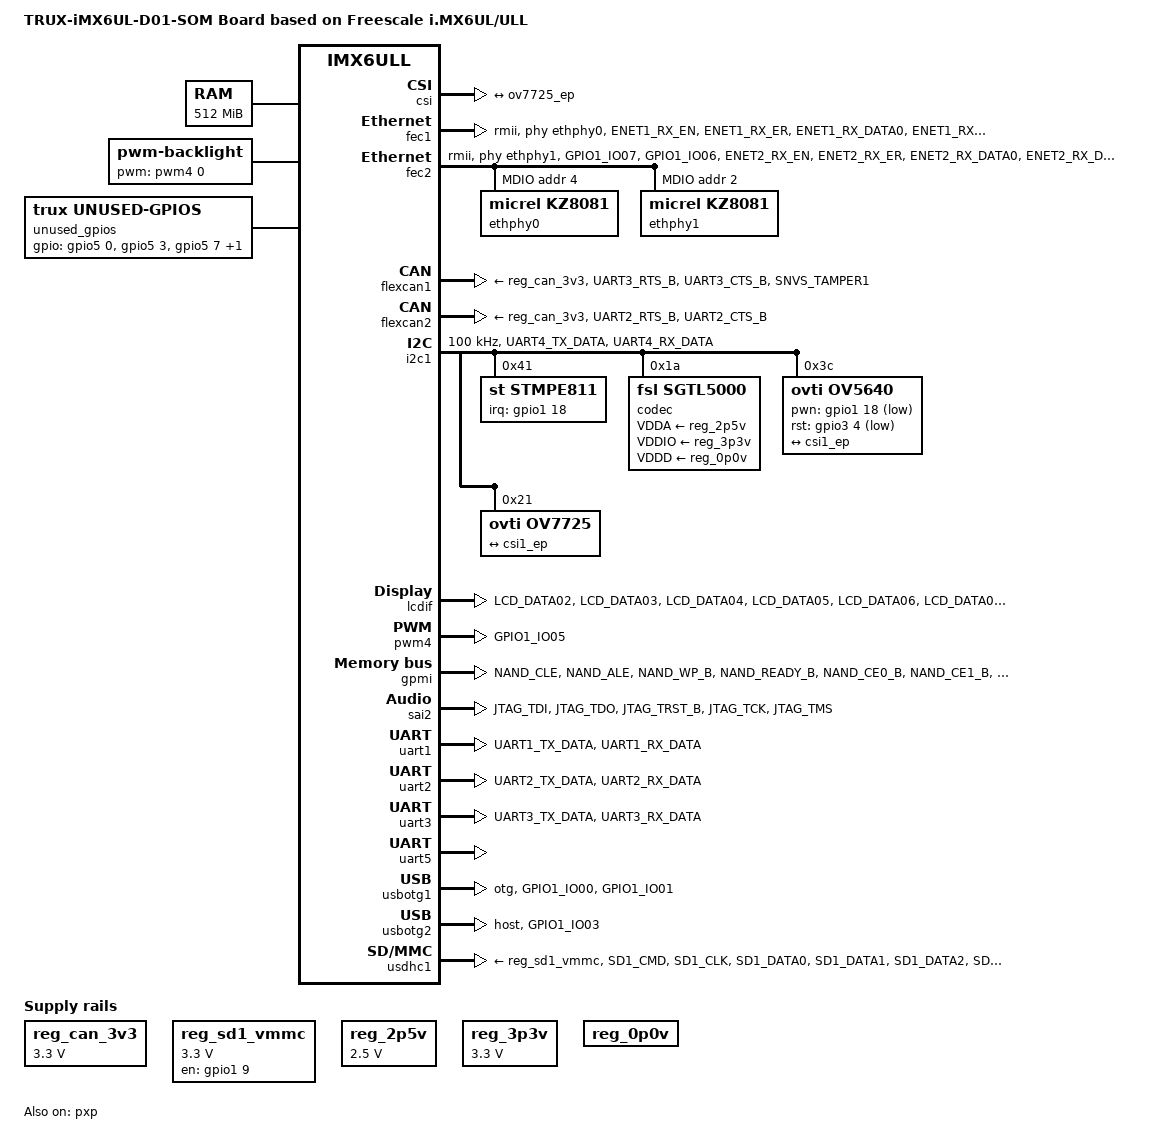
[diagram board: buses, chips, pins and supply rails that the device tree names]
/*
 * Copyright (c) 2020 Trunexa Inc.
 *
 * This program is free software; you can redistribute it and/or modify
 * it under the terms of the GNU General Public License version 3
 * as published by the Free Software Foundation.
 *
 * This program is distributed in the hope that it will be useful,
 * but WITHOUT ANY WARRANTY; without even the implied warranty of
 * MERCHANTABILITY or FITNESS FOR A PARTICULAR PURPOSE.  See the
 * GNU General Public License for more details.
 *
 * You should have received a copy of the GNU General Public License
 * along with this program; If not, see <http://www.gnu.org/licenses/>.
 */

#include <dt-bindings/input/input.h>
#include <dt-bindings/gpio/gpio.h>
#include <dt-bindings/interrupt-controller/arm-gic.h>
#include "imx6ul-pinfunc.h"

/ {
	model = "TRUX-iMX6UL-D01-SOM Board based on Freescale i.MX6UL/ULL";
	compatible = "trux,ul_truxd01_som", "trux,ull_truxd01_som", "fsl,imx6ul", "fsl,imx6ull";
      
	aliases {
                ethernet0 = &fec2;
                ethernet1 = &fec1;
	};

	chosen {
		stdout-path = &uart1;
	};

	memory {
		reg = <0x80000000 0x20000000>;
	};

	reserved-memory {
		#address-cells = <1>;
		#size-cells = <1>;
		ranges;

		linux,cma {
			compatible = "shared-dma-pool";
			reusable;
			size = <0x14000000>;
			linux,cma-default;
		};
	};

	backlight {
		compatible = "pwm-backlight";
		pwms = <&pwm4 0 5000000>;
		brightness-levels = <0 4 8 16 32 64 128 255>;
		default-brightness-level = <6>;
		status = "okay";
	};

	pxp_v4l2 {
		compatible = "fsl,imx6ul-pxp-v4l2", "fsl,imx6sx-pxp-v4l2", "fsl,imx6sl-pxp-v4l2";
		status = "okay";
	};

        unused_gpios: unused_gpios {
                compatible = "trux,unused-gpios";
                status = "okay";
        };

	regulators {
		compatible = "simple-bus";
		#address-cells = <1>;
		#size-cells = <0>;

		reg_can_3v3: regulator@0 {
			compatible = "regulator-fixed";
			reg = <0>;
			regulator-name = "can-3v3";
			regulator-min-microvolt = <3300000>;
			regulator-max-microvolt = <3300000>;
		};

		reg_sd1_vmmc: regulator@1 {
			compatible = "regulator-fixed";
			regulator-name = "VSD_3V3";
			regulator-min-microvolt = <3300000>;
			regulator-max-microvolt = <3300000>;
			gpio = <&gpio1 9 GPIO_ACTIVE_HIGH>;
			enable-active-high;
		};
		reg_2p5v: 2p5v {
			compatible = "regulator-fixed";
			regulator-name = "2P5V";
			regulator-min-microvolt = <2500000>;
			regulator-max-microvolt = <2500000>;
			regulator-always-on;
		};

		reg_3p3v: 3p3v {
			compatible = "regulator-fixed";
			regulator-name = "3P3V";
			regulator-min-microvolt = <3300000>;
			regulator-max-microvolt = <3300000>;
			regulator-always-on;
		};

		reg_0p0v: 0p0v {
			compatible = "regulator-fixed";
			regulator-name = "0P0V";
			regulator-min-microvolt = <0000000>;
			regulator-max-microvolt = <0000000>;
			regulator-always-on;
		};
	};

	/*sound {
		compatible = "fsl,imx-audio-sgtl5000";
		model = "sgtl5000-audio";
		ssi-controller = <&sai2>;
		audio-codec = <&codec>;
		gpr = <&gpr>;
		audio-routing =
			"MIC_IN", "Mic Jack",
			"Mic Jack", "Mic Bias",
			"Headphone Jack", "HP_OUT",
			"LINE_IN", "Line In Jack";
	};*/
	
	sound {
                compatible = "fsl,imx-audio-wm8960";
                model = "wm8960-audio";
                ssi-controller = <&sai2>;
                audio-codec = <&codec>;
                gpr = <&gpr>;
                audio-routing =
                        "MIC_IN", "Mic Jack",
                        "Mic Jack", "Mic Bias",
                        "Headphone Jack", "HP_OUT",
                        "LINE_IN", "Line In Jack";
        };

};

&cpu0 {
	arm-supply = <&reg_arm>;
	soc-supply = <&reg_soc>;
};

&clks {
	assigned-clocks = <&clks IMX6UL_CLK_PLL4_AUDIO_DIV>;
	assigned-clock-rates = <786432000>;
};

&csi {
	status = "okay";

	port {
		csi1_ep: endpoint {
			remote-endpoint = <&ov7725_ep>;
		};
	};
};

&fec1 {
	pinctrl-names = "default";
	pinctrl-0 = <&pinctrl_enet1>;
	phy-mode = "rmii";
	phy-handle = <&ethphy0>;
	status = "okay";
};

&fec2 {
	pinctrl-names = "default";
	pinctrl-0 = <&pinctrl_enet2>;
	phy-mode = "rmii";
	phy-handle = <&ethphy1>;
	status = "okay";

	mdio {
		#address-cells = <1>;
		#size-cells = <0>;

		ethphy0: ethernet-phy@4 {
			compatible = "micrel,kz8081";
			reg = <4>;
		};

		ethphy1: ethernet-phy@2 {
			compatible = "micrel,kz8081";
			reg = <2>;
		};
	};
};

&flexcan1 {
	pinctrl-names = "default";
	pinctrl-0 = <&pinctrl_flexcan1>;
        trx-en-gpio = <&gpio5 1 GPIO_ACTIVE_LOW>;
	xceiver-supply = <&reg_can_3v3>;
	status = "okay";
};

&flexcan2 {
	pinctrl-names = "default";
	pinctrl-0 = <&pinctrl_flexcan2>;
	xceiver-supply = <&reg_can_3v3>;
	status = "okay";
};

&unused_gpios {
        gpios = <&gpio5 0 0  &gpio5 3 0 &gpio5 7 0   &gpio5 8 0 >;
};

&gpc {
	fsl,cpu_pupscr_sw2iso = <0x1>;
	fsl,cpu_pupscr_sw = <0x0>;
	fsl,cpu_pdnscr_iso2sw = <0x1>;
	fsl,cpu_pdnscr_iso = <0x1>;
	fsl,wdog-reset = <1>; /* watchdog select of reset source */
	fsl,ldo-bypass = <0>; /* DCDC, ldo-enable */
};

&i2c1 {
	clock-frequency = <100000>;
	pinctrl-names = "default";
	pinctrl-0 = <&pinctrl_i2c1>;
	status = "okay";

/* STMPE811 touch screen controller */
       stmpe811@41 {
               compatible = "st,stmpe811";
               #address-cells = <1>;
               #size-cells = <0>;
               reg = <0x41>;
               /*interrupts = <2 2>;
               interrupt-parent = <&gpio5>;*/
	       interrupts = <18 2>;
               interrupt-parent = <&gpio1>;
               interrupt-controller;
               id = <0>;
               blocks = <0x5>;
               irq-trigger = <0x1>;
               stmpe_touchscreen {
                       compatible = "st,stmpe-ts";
                       reg = <0>;
                       /* 3.25 MHz ADC clock speed */
                       st,adc-freq = <3>;
                       /* 8 sample average control */
                       st,ave-ctrl = <2>;
                       /* 7 length fractional part in z */
                       st,fraction-z = <7>;
                       /*
                        * 50 mA typical 80 mA max touchscreen drivers
                        * current limit value
                        */
                       st,i-drive = <0>;
                       /* 12-bit ADC */
                       st,mod-12b = <1>;
                       /* internal ADC reference */
                       st,ref-sel = <0>;
                       /* ADC converstion time: 80 clocks */
                       st,sample-time = <4>;
                       /* 1 ms panel driver settling time */
                       st,settling = <3>;
                       /* 5 ms touch detect interrupt delay */
                       st,touch-det-delay = <4>;
               };
       };

		/*codec: sgtl5000@0a {
			compatible = "fsl,sgtl5000";
			reg = <0x0a>;
			clocks = <&clks IMX6UL_CLK_OSC>; 
			VDDA-supply = <&reg_2p5v>;
			VDDIO-supply = <&reg_3p3v>;
			VDDD-supply = <&reg_0p0v>;
		};*/
		codec: wm8960@1a {
                        compatible = "fsl,sgtl5000";
                        reg = <0x1a>;
                        clocks = <&clks IMX6UL_CLK_OSC>; 
                        VDDA-supply = <&reg_2p5v>;
                        VDDIO-supply = <&reg_3p3v>;
                        VDDD-supply = <&reg_0p0v>;
                };
	
	ov5640: ov5640@3c {
		compatible = "ovti,ov5640";
		reg = <0x3c>;
		pinctrl-names = "default";
		pinctrl-0 = <&pinctrl_csi1>;
		clocks = <&clks IMX6UL_CLK_CSI>;
		clock-names = "csi_mclk";
		pwn-gpios = <&gpio1 18 GPIO_ACTIVE_LOW>;
		rst-gpios = <&gpio3 4 GPIO_ACTIVE_LOW>;
		csi_id = <0>;
		mclk = <24000000>;
		mclk_source = <0>;
		status = "okay";
		port {
			ov5640_ep: endpoint {
				remote-endpoint = <&csi1_ep>;
			};
		};
	};
	ov7725: ov7725@21 {
                compatible = "ovti,ov7725";
                reg = <0x21>;
        	pinctrl-names = "default";
        	pinctrl-0 = <&pinctrl_csi1>;
	        clocks = <&clks IMX6UL_CLK_CSI>;
	        clock-names = "csi_mclk";
	        csi_id = <0>;
	        mclk = <24000000>;
	        mclk_source = <0>;
                status = "okay";
                port {
                        ov7725_ep: endpoint {
                                remote-endpoint = <&csi1_ep>;
                        };
                };
        };
};

&iomuxc {
	pinctrl-names = "default";
	pinctrl-0 = <&pinctrl_hog_1>;
	imx6ul-evk {
		pinctrl_hog_1: hoggrp-1 {
			fsl,pins = <
				MX6UL_PAD_SNVS_TAMPER0__GPIO5_IO00      0x80000000
                                MX6UL_PAD_SNVS_TAMPER3__GPIO5_IO03      0x80000000
                                MX6UL_PAD_SNVS_TAMPER7__GPIO5_IO07      0x80000000
                                MX6UL_PAD_SNVS_TAMPER8__GPIO5_IO08      0x80000000
				MX6UL_PAD_LCD_DATA00__GPIO3_IO05        0x80000000
                                MX6UL_PAD_LCD_DATA01__GPIO3_IO06        0x80000000
                                MX6UL_PAD_LCD_DATA08__GPIO3_IO13        0x80000000
                                MX6UL_PAD_LCD_DATA09__GPIO3_IO14        0x80000000
                                MX6UL_PAD_LCD_DATA16__GPIO3_IO21        0x80000000
                                MX6UL_PAD_LCD_DATA17__GPIO3_IO22        0x80000000
				MX6UL_PAD_UART1_CTS_B__GPIO1_IO18   	0x80000000 /*Touch Interrupt*/
			/*	MX6UL_PAD_SNVS_TAMPER2__GPIO5_IO02      0x80000000*/ /*Touch Interrupt*/
			>;
		};

		pinctrl_csi1: csi1grp {
			fsl,pins = <
				MX6UL_PAD_CSI_MCLK__CSI_MCLK		0x1b088
				MX6UL_PAD_CSI_PIXCLK__CSI_PIXCLK	0x1b088
				MX6UL_PAD_CSI_VSYNC__CSI_VSYNC		0x1b088
				MX6UL_PAD_CSI_HSYNC__CSI_HSYNC		0x1b088
				MX6UL_PAD_CSI_DATA00__CSI_DATA02	0x1b088
				MX6UL_PAD_CSI_DATA01__CSI_DATA03	0x1b088
				MX6UL_PAD_CSI_DATA02__CSI_DATA04	0x1b088
				MX6UL_PAD_CSI_DATA03__CSI_DATA05	0x1b088
				MX6UL_PAD_CSI_DATA04__CSI_DATA06	0x1b088
				MX6UL_PAD_CSI_DATA05__CSI_DATA07	0x1b088
				MX6UL_PAD_CSI_DATA06__CSI_DATA08	0x1b088
				MX6UL_PAD_CSI_DATA07__CSI_DATA09	0x1b088
			/*	MX6UL_PAD_UART1_CTS_B__GPIO1_IO18   0x80000000*/
			>;
		};

		pinctrl_enet1: enet1grp {
			fsl,pins = <
				MX6UL_PAD_ENET1_RX_EN__ENET1_RX_EN	0x1b0b0
				MX6UL_PAD_ENET1_RX_ER__ENET1_RX_ER	0x1b0b0
				MX6UL_PAD_ENET1_RX_DATA0__ENET1_RDATA00	0x1b0b0
				MX6UL_PAD_ENET1_RX_DATA1__ENET1_RDATA01	0x1b0b0
				MX6UL_PAD_ENET1_TX_EN__ENET1_TX_EN	0x1b0b0
				MX6UL_PAD_ENET1_TX_DATA0__ENET1_TDATA00	0x1b0b0
				MX6UL_PAD_ENET1_TX_DATA1__ENET1_TDATA01	0x1b0b0
				MX6UL_PAD_ENET1_TX_CLK__ENET1_REF_CLK1	0x4001b031
                               MX6UL_PAD_SNVS_TAMPER5__GPIO5_IO05      0x80000000
			>;
		};

		pinctrl_enet2: enet2grp {
			fsl,pins = <
				MX6UL_PAD_GPIO1_IO07__ENET2_MDC		0x1b0b0
				MX6UL_PAD_GPIO1_IO06__ENET2_MDIO	0x1b0b0
				MX6UL_PAD_ENET2_RX_EN__ENET2_RX_EN	0x1b0b0
				MX6UL_PAD_ENET2_RX_ER__ENET2_RX_ER	0x1b0b0
				MX6UL_PAD_ENET2_RX_DATA0__ENET2_RDATA00	0x1b0b0
				MX6UL_PAD_ENET2_RX_DATA1__ENET2_RDATA01	0x1b0b0
				MX6UL_PAD_ENET2_TX_EN__ENET2_TX_EN	0x1b0b0
				MX6UL_PAD_ENET2_TX_DATA0__ENET2_TDATA00	0x1b0b0
				MX6UL_PAD_ENET2_TX_DATA1__ENET2_TDATA01	0x1b0b0
				MX6UL_PAD_ENET2_TX_CLK__ENET2_REF_CLK2	0x4001b031
				MX6UL_PAD_SNVS_TAMPER6__GPIO5_IO06	0x80000000
			>;
		};

		pinctrl_flexcan1: flexcan1grp{
			fsl,pins = <
				MX6UL_PAD_UART3_RTS_B__FLEXCAN1_RX	0x1b020
				MX6UL_PAD_UART3_CTS_B__FLEXCAN1_TX	0x1b020
                                MX6UL_PAD_SNVS_TAMPER1__GPIO5_IO01      0x80000000
			>;
		};

		pinctrl_flexcan2: flexcan2grp{
			fsl,pins = <
				MX6UL_PAD_UART2_RTS_B__FLEXCAN2_RX	0x1b020
				MX6UL_PAD_UART2_CTS_B__FLEXCAN2_TX	0x1b020
			>;
		};

		pinctrl_i2c1: i2c1grp {
			fsl,pins = <
				MX6UL_PAD_UART4_TX_DATA__I2C1_SCL 0x4001b8b0
				MX6UL_PAD_UART4_RX_DATA__I2C1_SDA 0x4001b8b0
			>;
		};

		pinctrl_lcdif_dat: lcdifdatgrp {
			fsl,pins = <
				MX6UL_PAD_LCD_DATA02__LCDIF_DATA02  0x79
				MX6UL_PAD_LCD_DATA03__LCDIF_DATA03  0x79
				MX6UL_PAD_LCD_DATA04__LCDIF_DATA04  0x79
				MX6UL_PAD_LCD_DATA05__LCDIF_DATA05  0x79
				MX6UL_PAD_LCD_DATA06__LCDIF_DATA06  0x79
				MX6UL_PAD_LCD_DATA07__LCDIF_DATA07  0x79
				MX6UL_PAD_LCD_DATA10__LCDIF_DATA10  0x79
				MX6UL_PAD_LCD_DATA11__LCDIF_DATA11  0x79
				MX6UL_PAD_LCD_DATA12__LCDIF_DATA12  0x79
				MX6UL_PAD_LCD_DATA13__LCDIF_DATA13  0x79
				MX6UL_PAD_LCD_DATA14__LCDIF_DATA14  0x79
				MX6UL_PAD_LCD_DATA15__LCDIF_DATA15  0x79
				MX6UL_PAD_LCD_DATA18__LCDIF_DATA18  0x79
				MX6UL_PAD_LCD_DATA19__LCDIF_DATA19  0x79
				MX6UL_PAD_LCD_DATA20__LCDIF_DATA20  0x79
				MX6UL_PAD_LCD_DATA21__LCDIF_DATA21  0x79
				MX6UL_PAD_LCD_DATA22__LCDIF_DATA22  0x79
				MX6UL_PAD_LCD_DATA23__LCDIF_DATA23  0x79
			>;
		};

		pinctrl_lcdif_ctrl: lcdifctrlgrp {
			fsl,pins = <
				MX6UL_PAD_LCD_CLK__LCDIF_CLK	    0x79
				MX6UL_PAD_LCD_ENABLE__LCDIF_ENABLE  0x79
				MX6UL_PAD_LCD_HSYNC__LCDIF_HSYNC    0x79
				MX6UL_PAD_LCD_VSYNC__LCDIF_VSYNC    0x79
                		MX6UL_PAD_SNVS_TAMPER9__GPIO5_IO09  0x80000000
				/* used for lcd reset */
				MX6UL_PAD_LCD_RESET__GPIO3_IO04     0x80000000 	
			>;
		};

                pinctrl_gpmi_nand_1: gpmi-nand-1 {
                        fsl,pins = <
                                MX6UL_PAD_NAND_CLE__RAWNAND_CLE         0xb0b1
                                MX6UL_PAD_NAND_ALE__RAWNAND_ALE         0xb0b1
                                MX6UL_PAD_NAND_WP_B__RAWNAND_WP_B       0xb0b1
                                MX6UL_PAD_NAND_READY_B__RAWNAND_READY_B 0xb000
                                MX6UL_PAD_NAND_CE0_B__RAWNAND_CE0_B     0xb0b1
                                MX6UL_PAD_NAND_CE1_B__RAWNAND_CE1_B     0xb0b1
                                MX6UL_PAD_NAND_RE_B__RAWNAND_RE_B       0xb0b1
                                MX6UL_PAD_NAND_WE_B__RAWNAND_WE_B       0xb0b1
                                MX6UL_PAD_NAND_DATA00__RAWNAND_DATA00   0xb0b1
                                MX6UL_PAD_NAND_DATA01__RAWNAND_DATA01   0xb0b1
                                MX6UL_PAD_NAND_DATA02__RAWNAND_DATA02   0xb0b1
                                MX6UL_PAD_NAND_DATA03__RAWNAND_DATA03   0xb0b1
                                MX6UL_PAD_NAND_DATA04__RAWNAND_DATA04   0xb0b1
                                MX6UL_PAD_NAND_DATA05__RAWNAND_DATA05   0xb0b1
                                MX6UL_PAD_NAND_DATA06__RAWNAND_DATA06   0xb0b1
                                MX6UL_PAD_NAND_DATA07__RAWNAND_DATA07   0xb0b1
                                MX6UL_PAD_NAND_DQS__RAWNAND_DQS         0xb0b1
                        >;
                };

		pinctrl_pwm4: pwm4grp {
			fsl,pins = <
				MX6UL_PAD_GPIO1_IO05__PWM4_OUT   0x110b0
			>;
		};

		pinctrl_qspi: qspigrp {
			fsl,pins = <
				MX6UL_PAD_NAND_WP_B__QSPI_A_SCLK      0x70a1
				MX6UL_PAD_NAND_READY_B__QSPI_A_DATA00 0x70a1
				MX6UL_PAD_NAND_CE0_B__QSPI_A_DATA01   0x70a1
				MX6UL_PAD_NAND_CE1_B__QSPI_A_DATA02   0x70a1
				MX6UL_PAD_NAND_CLE__QSPI_A_DATA03     0x70a1
				MX6UL_PAD_NAND_DQS__QSPI_A_SS0_B      0x70a1
			>;
		};

		pinctrl_sai2: sai2grp {
			fsl,pins = <
				MX6UL_PAD_JTAG_TDI__SAI2_TX_BCLK	0x17088
				MX6UL_PAD_JTAG_TDO__SAI2_TX_SYNC	0x17088
				MX6UL_PAD_JTAG_TRST_B__SAI2_TX_DATA	0x11088
				MX6UL_PAD_JTAG_TCK__SAI2_RX_DATA	0x11088
				MX6UL_PAD_JTAG_TMS__CCM_CLKO1		0x17088 
			>;
		};

		pinctrl_uart1: uart1grp {
			fsl,pins = <
				MX6UL_PAD_UART1_TX_DATA__UART1_DCE_TX 0x1b0b1
				MX6UL_PAD_UART1_RX_DATA__UART1_DCE_RX 0x1b0b1
			>;
		};

		pinctrl_uart2: uart2grp {
			fsl,pins = <
				MX6UL_PAD_UART2_TX_DATA__UART2_DCE_TX	0x1b0b1
				MX6UL_PAD_UART2_RX_DATA__UART2_DCE_RX	0x1b0b1
			>;
		};

                pinctrl_uart3: uart3grp {
                        fsl,pins = <
                                MX6UL_PAD_UART3_TX_DATA__UART3_DCE_TX   0x1b0b1
                                MX6UL_PAD_UART3_RX_DATA__UART3_DCE_RX   0x1b0b1
                        >;
                };

		pinctrl_usbotg_1: usbot-sm {
                        fsl,pins = <
                                MX6UL_PAD_GPIO1_IO00__ANATOP_OTG1_ID 0x17059
				MX6UL_PAD_GPIO1_IO01__USB_OTG1_OC    0x17059	
                        >;
                };

                pinctrl_usbhost: usbho-sm {
                        fsl,pins = <
                                MX6UL_PAD_GPIO1_IO03__USB_OTG2_OC 0x17059
                        >;
                };

		pinctrl_usdhc1: usdhc1grp {
			fsl,pins = <
				MX6UL_PAD_SD1_CMD__USDHC1_CMD     0x17059
				MX6UL_PAD_SD1_CLK__USDHC1_CLK     0x10071
				MX6UL_PAD_SD1_DATA0__USDHC1_DATA0 0x17059
				MX6UL_PAD_SD1_DATA1__USDHC1_DATA1 0x17059
				MX6UL_PAD_SD1_DATA2__USDHC1_DATA2 0x17059
				MX6UL_PAD_SD1_DATA3__USDHC1_DATA3 0x17059
				MX6UL_PAD_UART1_RTS_B__GPIO1_IO19   0x80000000 /* CD */
			>;
		};

		pinctrl_usdhc1_100mhz: usdhc1grp100mhz {
			fsl,pins = <
				MX6UL_PAD_SD1_CMD__USDHC1_CMD     0x170b9
				MX6UL_PAD_SD1_CLK__USDHC1_CLK     0x100b9
				MX6UL_PAD_SD1_DATA0__USDHC1_DATA0 0x170b9
				MX6UL_PAD_SD1_DATA1__USDHC1_DATA1 0x170b9
				MX6UL_PAD_SD1_DATA2__USDHC1_DATA2 0x170b9
				MX6UL_PAD_SD1_DATA3__USDHC1_DATA3 0x170b9
				MX6UL_PAD_UART1_RTS_B__GPIO1_IO19   0x80000000 /* CD */
			>;
		};

		pinctrl_usdhc1_200mhz: usdhc1grp200mhz {
			fsl,pins = <
				MX6UL_PAD_SD1_CMD__USDHC1_CMD     0x170f9
				MX6UL_PAD_SD1_CLK__USDHC1_CLK     0x100f9
				MX6UL_PAD_SD1_DATA0__USDHC1_DATA0 0x170f9
				MX6UL_PAD_SD1_DATA1__USDHC1_DATA1 0x170f9
				MX6UL_PAD_SD1_DATA2__USDHC1_DATA2 0x170f9
				MX6UL_PAD_SD1_DATA3__USDHC1_DATA3 0x170f9
				MX6UL_PAD_UART1_RTS_B__GPIO1_IO19   0x80000000 /* CD */
			>;
		};

		pinctrl_usdhc2: usdhc2grp {
			fsl,pins = <
				MX6UL_PAD_NAND_RE_B__USDHC2_CLK     0x10069
				MX6UL_PAD_NAND_WE_B__USDHC2_CMD     0x17059
				MX6UL_PAD_NAND_DATA00__USDHC2_DATA0 0x17059
				MX6UL_PAD_NAND_DATA01__USDHC2_DATA1 0x17059
				MX6UL_PAD_NAND_DATA02__USDHC2_DATA2 0x17059
				MX6UL_PAD_NAND_DATA03__USDHC2_DATA3 0x17059
                                MX6UL_PAD_NAND_DATA07__GPIO4_IO09   0x80000000 /* CD */
			>;
		};

		};
};

&lcdif {
	pinctrl-names = "default";
	pinctrl-0 = <&pinctrl_lcdif_dat
		     &pinctrl_lcdif_ctrl>;
	display = <&display0>;
	status = "okay";

	display0: display {
		bits-per-pixel = <16>;
		bus-width = <24>;

		display-timings {
			native-mode = <&timing0>;
			timing0: timing0 {
			clock-frequency = <9200000>;
			hactive = <480>;
			vactive = <272>;
			hfront-porch = <8>;
			hback-porch = <4>;
			hsync-len = <41>;
			vback-porch = <2>;
			vfront-porch = <4>;
			vsync-len = <10>;

			hsync-active = <0>;
			vsync-active = <0>;
			de-active = <1>;
			pixelclk-active = <0>;
			};
		};
	};
};

&pwm4 {
	pinctrl-names = "default";
	pinctrl-0 = <&pinctrl_pwm4>;
	clocks = <&clks IMX6UL_CLK_PWM4>,
                <&clks IMX6UL_CLK_PWM4>;
	status = "okay";
};

&pxp {
	status = "okay";
};

&qspi {
	pinctrl-names = "default";
	pinctrl-0 = <&pinctrl_qspi>;
	status = "disabled";
	ddrsmp=<0>;

	flash0: s25fl129p0@0 {
		#address-cells = <1>;
		#size-cells = <1>;
		compatible = "spansion,s25fl129p0";
		spi-max-frequency = <29000000>;
		spi-nor,ddr-quad-read-dummy = <6>;
		reg = <0>;
	};
};

&gpmi {
        pinctrl-names = "default";
        pinctrl-0 = <&pinctrl_gpmi_nand_1>;
        status = "okay";
        nand-on-flash-bbt;
};

&sai2 {
	pinctrl-names = "default";
	pinctrl-0 = <&pinctrl_sai2>;

	assigned-clocks = <&clks IMX6UL_CLK_SAI2_SEL>,
			  <&clks IMX6UL_CLK_SAI2>;
	assigned-clock-parents = <&clks IMX6UL_CLK_PLL4_AUDIO_DIV>;
	assigned-clock-rates = <0>, <12288000>;

	status = "okay";
};


&uart1 {
	pinctrl-names = "default";
	pinctrl-0 = <&pinctrl_uart1>;
	status = "okay";
};

&uart2 {
	pinctrl-names = "default";
	pinctrl-0 = <&pinctrl_uart2>;
	status = "okay";
};

&uart3 {
        pinctrl-names = "default";
        pinctrl-0 = <&pinctrl_uart3>;
        status = "okay";
};

&uart5 {
        pinctrl-names = "default";
        fsl,uart-has-rtscts;
        status = "okay";
};

&usbotg1 {
	dr_mode = "otg";
	srp-disable;
	hnp-disable;
	adp-disable;
	pinctrl-0 = <&pinctrl_usbotg_1>;
	status = "okay";
};

&usbotg2 {
	dr_mode = "host";
        pinctrl-0 = <&pinctrl_usbhost>;
	disable-over-current;
	status = "okay";
};

&usbphy1 {
	tx-d-cal = <0x5>;
};

&usbphy2 {
	tx-d-cal = <0x5>;
};

&usdhc1 {
	pinctrl-names = "default";
	pinctrl-0 = <&pinctrl_usdhc1>;
	pinctrl-1 = <&pinctrl_usdhc1_100mhz>;
	pinctrl-2 = <&pinctrl_usdhc1_200mhz>;
	cd-gpios = <&gpio1 19 GPIO_ACTIVE_LOW>;
	keep-power-in-suspend;
	enable-sdio-wakeup;
	vmmc-supply = <&reg_sd1_vmmc>;
	status = "okay";
};

&usdhc2 {
        pinctrl-names = "default";
        pinctrl-0 = <&pinctrl_usdhc2>;
        cd-gpios = <&gpio4 9 0>;
        no-1-8-v;
        keep-power-in-suspend;
        enable-sdio-wakeup;
        status = "disabled";
};

